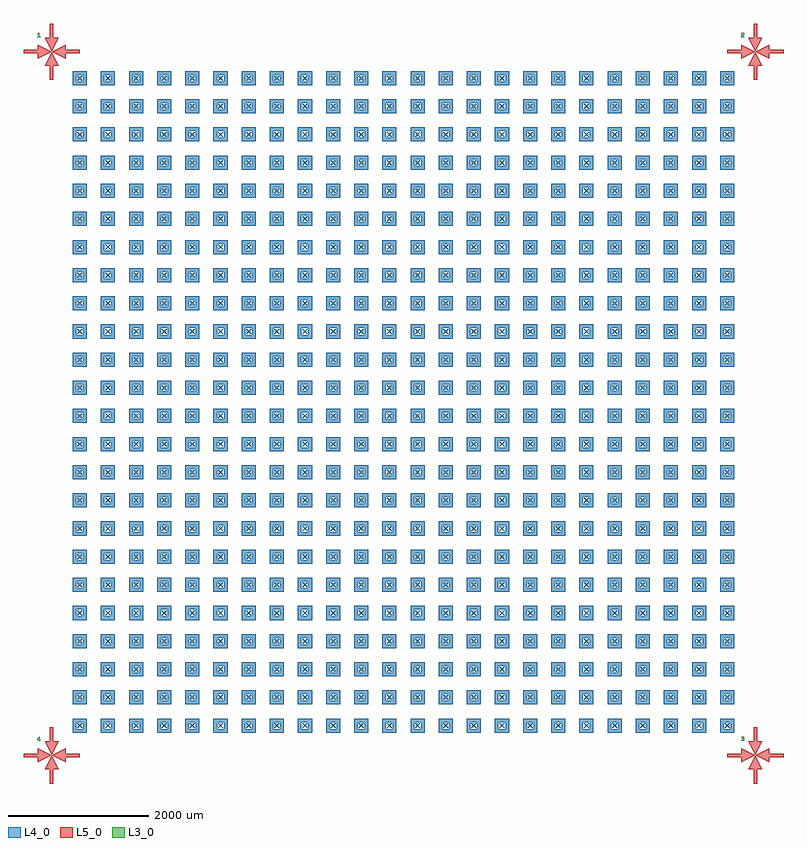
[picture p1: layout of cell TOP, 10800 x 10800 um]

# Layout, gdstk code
from math import pi, radians
import gdstk
lib = gdstk.Library(unit=1e-6, precision=1e-09)
def P(c, l, *ps):  # polygons
    for p in ps: c.add(gdstk.Polygon(p, *l))
L3_0 = (3, 0)
L4_0 = (4, 0)
L5_0 = (5, 0)

yolo = lib.new_cell('yolo')

text_2 = lib.new_cell('TEXT$2')
P(text_2, L3_0, [(27,0),(27,13.5),(0,13.5),(0,22.5),(27,22.5),(27,45),(22.5,45),(9,31.5),(9,22.5),(0,22.5),(0,36),(27,63),(36,63),(36,22.5),(45,22.5),(45,13.5),(36,13.5),(36,0)])

text_1 = lib.new_cell('TEXT$1')
P(text_1, L3_0, [(9,0),(0,9),(0,18),(9,18),(9,13.5),(13.5,9),(31.5,9),(36,13.5),(36,22.5),(31.5,27),(18,27),(18,36),(31.5,36),(36,40.5),(36,49.5),(31.5,54),(13.5,54),(9,49.5),(9,45),(0,45),(0,54),(9,63),(36,63),(45,54),(45,36),(40.5,31.5),(45,27),(45,9),(36,0)])

text_7 = lib.new_cell('TEXT$7')
P(text_7, L3_0, [(0,0),(0,22.5),(9,31.5),(31.5,31.5),(36,36),(36,49.5),(31.5,54),(13.5,54),(9,49.5),(9,45),(0,45),(0,54),(9,63),(36,63),(45,54),(45,31.5),(36,22.5),(13.5,22.5),(9,18),(9,9),(45,9),(45,0)])

text = lib.new_cell('TEXT')
P(text, L3_0, [(0,0),(0,9),(18,9),(18,45),(13.5,45),(4.5,36),(0,36),(0,45),(18,63),(27,63),(27,9),(45,9),(45,0)])

reseau_des_croix = lib.new_cell('Reseau_des_croix')
r = gdstk.Reference(yolo, (614.94,1738.703)); r.repetition = gdstk.Repetition(2, 2, v1=(10000,0), v2=(0,10000)); reseau_des_croix.add(r)
reseau_des_croix.add(gdstk.Reference(text_2, (-133.329,271.614)))
reseau_des_croix.add(gdstk.Reference(text_1, (9865.918,273.908)))
reseau_des_croix.add(gdstk.Reference(text_7, (9866.032,10275.526)))
reseau_des_croix.add(gdstk.Reference(text, (-133.525,10274.336)))

carre50 = lib.new_cell('carre50')

reseau_carre50 = lib.new_cell('reseau_carre50')
r = gdstk.Reference(carre50, (-65,-24)); r.repetition = gdstk.Repetition(24, 24, v1=(400,0), v2=(0,400)); reseau_carre50.add(r)

huge_croix = lib.new_cell('Huge$croix')
P(huge_croix, L5_0, [(562.691,198.26),(562.691,398.26),(487.691,398.26),(587.691,598.26),(687.691,398.26),(612.691,398.26),(612.691,198.26)],
  [(387.691,498.26),(387.691,573.26),(187.691,573.26),(187.691,623.26),(387.691,623.26),(387.691,698.26),(587.691,598.26)],
  [(787.691,498.26),(587.691,598.26),(787.691,698.26),(787.691,623.26),(987.691,623.26),(987.691,573.26),(787.691,573.26)],
  [(587.691,598.26),(487.691,798.26),(562.691,798.26),(562.691,998.26),(612.691,998.26),(612.691,798.26),(687.691,798.26)])

hugecroixforreal = lib.new_cell('HugecroixFORREAL')
r = gdstk.Reference(huge_croix, (-2340.305,7765.052)); r.repetition = gdstk.Repetition(2, 2, v1=(10000,0), v2=(0,10000)); hugecroixforreal.add(r)

croix2_0 = lib.new_cell('croix2.0')
P(croix2_0, L4_0, [(165.492,-31.053),(94.781,39.658),(106.802,51.679),(177.512,-19.031)],
  [(106.801,-31.054),(94.781,-19.031),(165.491,51.679),(177.513,39.658)])

webcroix2_0 = lib.new_cell('webcroix2.0')
r = gdstk.Reference(croix2_0, (35.038,-82.03), rotation=pi/2); r.repetition = gdstk.Repetition(24, 24, v1=(0,400), v2=(-400,0)); webcroix2_0.add(r)

carre200 = lib.new_cell('carre200')
P(carre200, L4_0, [(-50,-50),(-50,150),(150,150),(150,100),(0,100),(0,0),(100,0),(100,100),(150,100),(150,-50)])

reseau_carre200 = lib.new_cell('reseau_carre200')
r = gdstk.Reference(carre200, (0.098,-0.2)); r.repetition = gdstk.Repetition(24, 24, v1=(400,0), v2=(0,400)); reseau_carre200.add(r)

top = lib.new_cell('TOP')
top.add(gdstk.Reference(reseau_des_croix, (187.208,290.259)))
top.add(gdstk.Reference(reseau_carre50, (722.937,808.635)))
top.add(gdstk.Reference(hugecroixforreal, (2009.352,-8003.134)))
top.add(gdstk.Reference(webcroix2_0, (9910.797,9958.863), rotation=pi/2))
top.add(gdstk.Reference(reseau_carre200, (606.583,733.788)))

lib.write_gds('TOP.gds')
